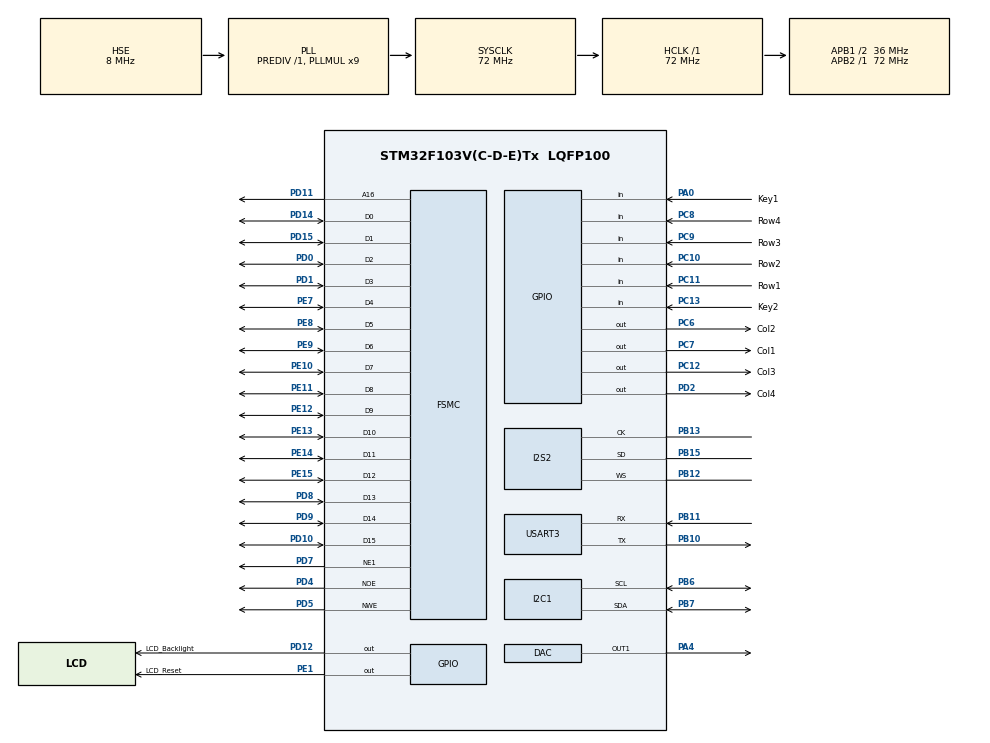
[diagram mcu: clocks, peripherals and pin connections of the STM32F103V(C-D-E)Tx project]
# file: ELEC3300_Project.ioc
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DAC.DAC_Trigger=DAC_TRIGGER_T7_TRGO
Dma.DAC_CH1.1.Direction=DMA_MEMORY_TO_PERIPH
Dma.DAC_CH1.1.Instance=DMA2_Channel3
Dma.DAC_CH1.1.MemDataAlignment=DMA_MDATAALIGN_HALFWORD
Dma.DAC_CH1.1.MemInc=DMA_MINC_ENABLE
Dma.DAC_CH1.1.Mode=DMA_NORMAL
Dma.DAC_CH1.1.PeriphDataAlignment=DMA_PDATAALIGN_HALFWORD
Dma.DAC_CH1.1.PeriphInc=DMA_PINC_DISABLE
Dma.DAC_CH1.1.Priority=DMA_PRIORITY_LOW
Dma.Request0=USART3_RX
Dma.Request1=DAC_CH1
Dma.Request2=SPI2_TX
Dma.SPI2_TX.2.Direction=DMA_MEMORY_TO_PERIPH
Dma.SPI2_TX.2.Instance=DMA1_Channel5
Dma.SPI2_TX.2.MemDataAlignment=DMA_MDATAALIGN_BYTE
Dma.SPI2_TX.2.MemInc=DMA_MINC_ENABLE
Dma.SPI2_TX.2.Mode=DMA_NORMAL
Dma.SPI2_TX.2.PeriphDataAlignment=DMA_PDATAALIGN_BYTE
Dma.SPI2_TX.2.PeriphInc=DMA_PINC_DISABLE
Dma.SPI2_TX.2.Priority=DMA_PRIORITY_LOW
Dma.USART3_RX.0.Direction=DMA_PERIPH_TO_MEMORY
Dma.USART3_RX.0.Instance=DMA1_Channel3
Dma.USART3_RX.0.MemDataAlignment=DMA_MDATAALIGN_BYTE
Dma.USART3_RX.0.MemInc=DMA_MINC_ENABLE
Dma.USART3_RX.0.Mode=DMA_CIRCULAR
Dma.USART3_RX.0.PeriphDataAlignment=DMA_PDATAALIGN_BYTE
Dma.USART3_RX.0.PeriphInc=DMA_PINC_DISABLE
Dma.USART3_RX.0.Priority=DMA_PRIORITY_LOW
I2S2.AudioFreq=I2S_AUDIOFREQ_8K
I2S2.ErrorAudioFreq=0.08 %
I2S2.Instance=SPI$Index
I2S2.RealAudioFreq=8.007 KHz
I2S2.VirtualMode=I2S_MODE_MASTER
Mcu.Family=STM32F1
Mcu.Name=STM32F103V(C-D-E)Tx
Mcu.Package=LQFP100
NVIC.DMA1_Channel3_IRQn=true\:0\:0\:false\:false\:true\:false\:true\:true
NVIC.DMA1_Channel5_IRQn=true\:0\:0\:false\:false\:true\:false\:true\:true
NVIC.DMA2_Channel3_IRQn=true\:0\:0\:false\:false\:true\:false\:true\:true
NVIC.PriorityGroup=NVIC_PRIORITYGROUP_4
NVIC.TIM2_IRQn=true\:2\:0\:true\:false\:true\:true\:true\:true
NVIC.TIM6_IRQn=true\:10\:0\:true\:false\:true\:true\:true\:true
NVIC.USART3_IRQn=true\:1\:0\:true\:false\:true\:true\:true\:true
OSC_IN.Mode=HSE-External-Oscillator
OSC_IN.Signal=RCC_OSC_IN
OSC_OUT.Mode=HSE-External-Oscillator
OSC_OUT.Signal=RCC_OSC_OUT
PA0-WKUP.GPIO_Label=Key1
PA0-WKUP.Signal=GPIO_Input
PA13.Mode=Serial_Wire
PA13.Signal=SYS_JTMS-SWDIO
PA14.Mode=Serial_Wire
PA14.Signal=SYS_JTCK-SWCLK
PA4.Signal=COMP_DAC1_group
PB10.Mode=Asynchronous
PB10.Signal=USART3_TX
PB11.Mode=Asynchronous
PB11.Signal=USART3_RX
PB12.Mode=Half_Duplex_Master_TX
PB12.Signal=I2S2_WS
PB13.Mode=Half_Duplex_Master_TX
PB13.Signal=I2S2_CK
PB15.Mode=Half_Duplex_Master_TX
PB15.Signal=I2S2_SD
PB6.Mode=I2C
PB6.Signal=I2C1_SCL
PB7.Mode=I2C
PB7.Signal=I2C1_SDA
PC10.GPIO_Label=Row2
PC10.GPIO_PuPd=GPIO_PULLUP
PC10.Signal=GPIO_Input
PC11.GPIO_Label=Row1
PC11.GPIO_PuPd=GPIO_PULLUP
PC11.Signal=GPIO_Input
PC12.GPIO_Label=Col3
PC12.GPIO_Speed=GPIO_SPEED_FREQ_HIGH
PC12.Signal=GPIO_Output
PC13-TAMPER-RTC.GPIO_Label=Key2
PC13-TAMPER-RTC.Signal=GPIO_Input
PC6.GPIO_Label=Col2
PC6.GPIO_Speed=GPIO_SPEED_FREQ_HIGH
PC6.Signal=GPIO_Output
PC7.GPIO_Label=Col1
PC7.GPIO_Speed=GPIO_SPEED_FREQ_HIGH
PC7.Signal=GPIO_Output
PC8.GPIO_Label=Row4
PC8.GPIO_PuPd=GPIO_PULLUP
PC8.Signal=GPIO_Input
PC9.GPIO_Label=Row3
PC9.GPIO_PuPd=GPIO_PULLUP
PC9.Signal=GPIO_Input
PD0.Mode=16b-d1
PD0.Signal=FSMC_D2
PD1.Mode=16b-d1
PD1.Signal=FSMC_D3
PD10.Mode=16b-d1
PD10.Signal=FSMC_D15
PD11.Mode=A16_1
PD11.Signal=FSMC_A16
PD12.GPIO_Label=LCD_Backlight
PD12.GPIO_Speed=GPIO_SPEED_FREQ_HIGH
PD12.Signal=GPIO_Output
PD14.Mode=16b-d1
PD14.Signal=FSMC_D0
PD15.Mode=16b-d1
PD15.Signal=FSMC_D1
PD2.GPIO_Label=Col4
PD2.GPIO_Speed=GPIO_SPEED_FREQ_HIGH
PD2.Signal=GPIO_Output
PD4.Mode=Lcd1
PD4.Signal=FSMC_NOE
PD5.Mode=Lcd1
PD5.Signal=FSMC_NWE
PD7.Mode=NorPsramChipSelect1_1
PD7.Signal=FSMC_NE1
PD8.Mode=16b-d1
PD8.Signal=FSMC_D13
PD9.Mode=16b-d1
PD9.Signal=FSMC_D14
PE1.GPIO_Label=LCD_Reset
PE1.GPIO_Speed=GPIO_SPEED_FREQ_HIGH
PE1.Signal=GPIO_Output
PE10.Mode=16b-d1
PE10.Signal=FSMC_D7
PE11.Mode=16b-d1
PE11.Signal=FSMC_D8
PE12.Mode=16b-d1
PE12.Signal=FSMC_D9
PE13.Mode=16b-d1
PE13.Signal=FSMC_D10
PE14.Mode=16b-d1
PE14.Signal=FSMC_D11
PE15.Mode=16b-d1
PE15.Signal=FSMC_D12
PE7.Mode=16b-d1
PE7.Signal=FSMC_D4
PE8.Mode=16b-d1
PE8.Signal=FSMC_D5
PE9.Mode=16b-d1
PE9.Signal=FSMC_D6
ProjectManager.HeapSize=0x200
ProjectManager.StackSize=0x400
ProjectManager.TargetToolchain=STM32CubeIDE
RCC.AHBFreq_Value=72000000
RCC.APB1CLKDivider=RCC_HCLK_DIV2
RCC.APB1Freq_Value=36000000
RCC.APB1TimFreq_Value=72000000
RCC.APB2Freq_Value=72000000
RCC.APB2TimFreq_Value=72000000
RCC.HCLKFreq_Value=72000000
RCC.PLLMUL=RCC_PLL_MUL9
RCC.PLLSourceVirtual=RCC_PLLSOURCE_HSE
RCC.SYSCLKFreq_VALUE=72000000
RCC.SYSCLKSource=RCC_SYSCLKSOURCE_PLLCLK
RCC.USBFreq_Value=72000000
SH.COMP_DAC1_group.0=DAC_OUT1,DAC_OUT1
TIM2.Period=10000-1
TIM2.Prescaler=72-1
TIM6.Period=2000-1
TIM6.Prescaler=7200-1
TIM7.Period=3628
TIM7.Prescaler=9
TIM7.TIM_MasterOutputTrigger=TIM_TRGO_UPDATE
USART3.VirtualMode=VM_ASYNC
VP_TIM2_VS_ClockSourceINT.Mode=Internal
VP_TIM6_VS_ClockSourceINT.Mode=Enable_Timer
VP_TIM7_VS_ClockSourceINT.Mode=Enable_Timer
board=custom

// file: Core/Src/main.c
/* USER CODE BEGIN Header */
/**
  ******************************************************************************
  * @file           : main.c
  * @brief          : Main program body
  ******************************************************************************
  * @attention
  *
  * Copyright (c) 2024 STMicroelectronics.
  * All rights reserved.
  *
  * This software is licensed under terms that can be found in the LICENSE file
  * in the root directory of this software component.
  * If no LICENSE file comes with this software, it is provided AS-IS.
  *
  ******************************************************************************
  */
/* USER CODE END Header */
#include "main.h"
#include "dac.h"
#include "dma.h"
#include "i2c.h"
#include "i2s.h"
#include "tim.h"
#include "usart.h"
#include "gpio.h"
#include "fsmc.h"

/* USER CODE BEGIN Includes */
#include "pacman.h"
#include "keypad.h"
#include "maze.h"
#include "speaker.h"
#include "main_menu.h"
//#include "pacman_death_sound.h"
/* USER CODE END Includes */

void SystemClock_Config(void);
/* USER CODE BEGIN PFP */
void HAL_TIM_PeriodElapsedCallback(TIM_HandleTypeDef *htim);
/* USER CODE END PFP */

int main(void)
{

  /* MCU Configuration--------------------------------------------------------*/

  /* Reset of all peripherals, Initializes the Flash interface and the Systick. */
  HAL_Init();

  /* Configure the system clock */
  SystemClock_Config();

  /* Initialize all configured peripherals */
  MX_GPIO_Init();
  MX_DMA_Init();
  MX_FSMC_Init();
  MX_USART3_UART_Init();
  MX_TIM2_Init();
  MX_DAC_Init();
  MX_TIM6_Init();
  MX_TIM7_Init();
  MX_I2S2_Init();
  MX_I2C1_Init();
  /* USER CODE BEGIN 2 */
//  USART3_IRQHandler();
//  WM8978_Init();
  LCD_INIT();

  // Init WIFI
  LCD_DrawString(0, 0, "Initalizing Wifi");
  wifiInit(SERVER);
  LCD_DrawString(0, 0, "Wifi Initialized");

  // Get IP
  getIP();
  LCD_DrawString(0, 20, "Server IP:");
  LCD_DrawString(11*8, 20, ipAddr);

  // Init Keypad
  LCD_DrawString(0, 40, "Initalizing Keypad");
  KeyPad_Init();
  LCD_DrawString(0, 40, "Keypad Initialized");

//  WM8978_PlayChar(Pacman_death_sound_wav);
  LCD_DrawString(40, 240, "Press K1 to continue");

  int number = 0;
  char numberString[4];
  char keypadResult;

  GPIO_PinState k1 = GPIO_PIN_RESET;
//  GPIO_PinState k2 = GPIO_PIN_RESET;
  int displayReady = 2;

//  getIP();

  /* USER CODE END 2 */

  /* Infinite loop */
  /* USER CODE BEGIN WHILE */
  while (1)
  {

	  k1 = HAL_GPIO_ReadPin(GPIOA, GPIO_PIN_0);
//	  k2 = HAL_GPIO_ReadPin(GPIOC, GPIO_PIN_13);

	  if(k1 == GPIO_PIN_SET){
		  displayReady = -1;
		  HAL_TIM_Base_Stop_IT(&htim6);
		  ShowMainMenu();
		  while(1){
			  k1 = HAL_GPIO_ReadPin(GPIOA, GPIO_PIN_0);
			  keypadResult = KeyPad_WaitForKeyGetChar(100);
			  if(k1 == GPIO_PIN_SET) keypadResult = 'S';
			  if(MenuHandleInput(keypadResult) == 1){
				  if(MULTI_PACMAN_GAMEDATA.playerNum > 1){
					  isMulti = 1;
				  } else {
					  isMulti = 0;
				  }
				  displayReady = 0;
				  break;
			  }
		  }
	  }

	  // inital debugging screen
	  if(displayReady == 2) {
	   continue;
	   keypadResult = KeyPad_WaitForKeyGetChar(100);
	   if(keypadResult == '1'){

		   LCD_DrawChar(0, 100, 'G');

	   }

	   LCD_DrawChar(0, 80, keypadResult);

	   HAL_Delay(1000);
	   sprintf(numberString, "%d", number);
	   LCD_DrawChar(0, 80, *numberString);
	   number++;
	   if(number==10)number=0;
	  }

	  if(displayReady == 0){
		  if(!isMulti){
			  Pacman_gamestart(MAZE1, isMulti);
		  }
		  else{
			  Pacman_gamestart(MAZE4, isMulti);
		  }

		  displayReady = 1;
	  }

	  if(displayReady == 1){
		  Pacman_handleKeypadInput(200);
	  }
    /* USER CODE END WHILE */

  }
}

void SystemClock_Config(void)
{
  RCC_OscInitTypeDef RCC_OscInitStruct = {0};
  RCC_ClkInitTypeDef RCC_ClkInitStruct = {0};
  RCC_PeriphCLKInitTypeDef PeriphClkInit = {0};

  /** Initializes the RCC Oscillators according to the specified parameters
  * in the RCC_OscInitTypeDef structure.
  */
  RCC_OscInitStruct.OscillatorType = RCC_OSCILLATORTYPE_HSE;
  RCC_OscInitStruct.HSEState = RCC_HSE_ON;
  RCC_OscInitStruct.HSEPredivValue = RCC_HSE_PREDIV_DIV1;
  RCC_OscInitStruct.HSIState = RCC_HSI_ON;
  RCC_OscInitStruct.PLL.PLLState = RCC_PLL_ON;
  RCC_OscInitStruct.PLL.PLLSource = RCC_PLLSOURCE_HSE;
  RCC_OscInitStruct.PLL.PLLMUL = RCC_PLL_MUL9;
  if (HAL_RCC_OscConfig(&RCC_OscInitStruct) != HAL_OK)
  {
    Error_Handler();
  }

  /** Initializes the CPU, AHB and APB buses clocks
  */
  RCC_ClkInitStruct.ClockType = RCC_CLOCKTYPE_HCLK|RCC_CLOCKTYPE_SYSCLK
                              |RCC_CLOCKTYPE_PCLK1|RCC_CLOCKTYPE_PCLK2;
  RCC_ClkInitStruct.SYSCLKSource = RCC_SYSCLKSOURCE_PLLCLK;
  RCC_ClkInitStruct.AHBCLKDivider = RCC_SYSCLK_DIV1;
  RCC_ClkInitStruct.APB1CLKDivider = RCC_HCLK_DIV2;
  RCC_ClkInitStruct.APB2CLKDivider = RCC_HCLK_DIV1;

  if (HAL_RCC_ClockConfig(&RCC_ClkInitStruct, FLASH_LATENCY_2) != HAL_OK)
  {
    Error_Handler();
  }
  PeriphClkInit.PeriphClockSelection = RCC_PERIPHCLK_I2S2;
  PeriphClkInit.I2s2ClockSelection = RCC_I2S2CLKSOURCE_SYSCLK;
  if (HAL_RCCEx_PeriphCLKConfig(&PeriphClkInit) != HAL_OK)
  {
    Error_Handler();
  }
}

/* USER CODE BEGIN 4 */
void HAL_TIM_PeriodElapsedCallback(TIM_HandleTypeDef *htim){
	static uint8_t count = 0;
	if(htim == (&htim2)){
		count++;
		if(count >= 10){
			recDataHandle();
			count = 0;
		}
	}
}
/* USER CODE END 4 */

void Error_Handler(void)
{
  __disable_irq();
  while (1)
  {
  }
}
